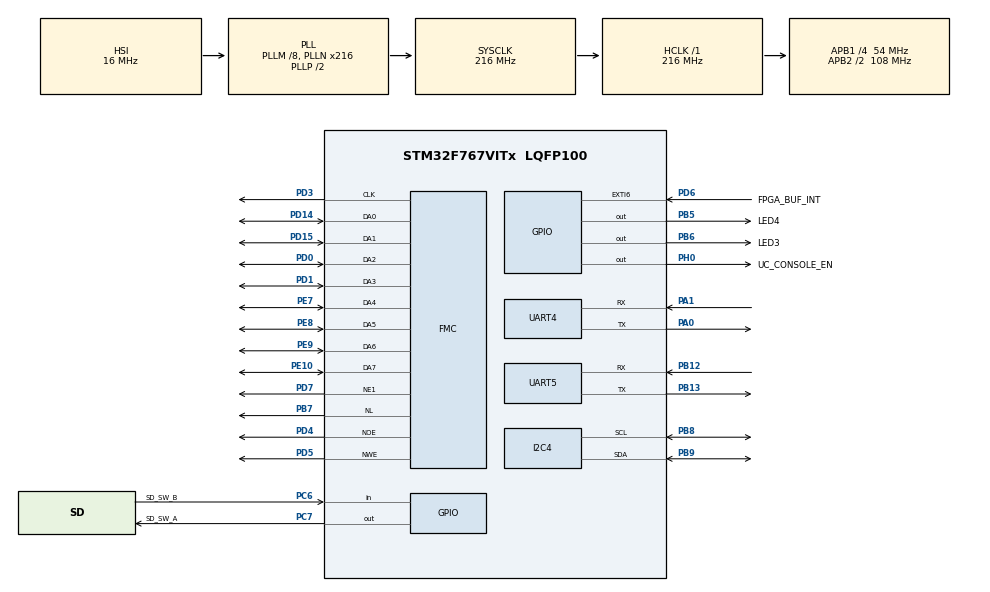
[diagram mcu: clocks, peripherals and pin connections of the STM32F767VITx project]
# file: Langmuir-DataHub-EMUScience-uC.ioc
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Dma.I2C4_RX.1.Direction=DMA_PERIPH_TO_MEMORY
Dma.I2C4_RX.1.FIFOMode=DMA_FIFOMODE_DISABLE
Dma.I2C4_RX.1.Instance=DMA1_Stream1
Dma.I2C4_RX.1.MemDataAlignment=DMA_MDATAALIGN_BYTE
Dma.I2C4_RX.1.MemInc=DMA_MINC_ENABLE
Dma.I2C4_RX.1.Mode=DMA_NORMAL
Dma.I2C4_RX.1.PeriphDataAlignment=DMA_PDATAALIGN_BYTE
Dma.I2C4_RX.1.PeriphInc=DMA_PINC_DISABLE
Dma.I2C4_RX.1.Priority=DMA_PRIORITY_LOW
Dma.I2C4_TX.2.Direction=DMA_MEMORY_TO_PERIPH
Dma.I2C4_TX.2.FIFOMode=DMA_FIFOMODE_DISABLE
Dma.I2C4_TX.2.Instance=DMA1_Stream5
Dma.I2C4_TX.2.MemDataAlignment=DMA_MDATAALIGN_BYTE
Dma.I2C4_TX.2.MemInc=DMA_MINC_ENABLE
Dma.I2C4_TX.2.Mode=DMA_NORMAL
Dma.I2C4_TX.2.PeriphDataAlignment=DMA_PDATAALIGN_BYTE
Dma.I2C4_TX.2.PeriphInc=DMA_PINC_DISABLE
Dma.I2C4_TX.2.Priority=DMA_PRIORITY_LOW
Dma.MEMTOMEM.0.Direction=DMA_MEMORY_TO_MEMORY
Dma.MEMTOMEM.0.FIFOMode=DMA_FIFOMODE_ENABLE
Dma.MEMTOMEM.0.FIFOThreshold=DMA_FIFO_THRESHOLD_FULL
Dma.MEMTOMEM.0.Instance=DMA2_Stream1
Dma.MEMTOMEM.0.MemBurst=DMA_MBURST_SINGLE
Dma.MEMTOMEM.0.MemDataAlignment=DMA_MDATAALIGN_BYTE
Dma.MEMTOMEM.0.MemInc=DMA_MINC_ENABLE
Dma.MEMTOMEM.0.Mode=DMA_NORMAL
Dma.MEMTOMEM.0.PeriphBurst=DMA_PBURST_SINGLE
Dma.MEMTOMEM.0.PeriphDataAlignment=DMA_PDATAALIGN_BYTE
Dma.MEMTOMEM.0.PeriphInc=DMA_PINC_ENABLE
Dma.MEMTOMEM.0.Priority=DMA_PRIORITY_VERY_HIGH
Dma.Request0=MEMTOMEM
Dma.Request1=I2C4_RX
Dma.Request2=I2C4_TX
Dma.Request3=UART4_TX
Dma.Request4=UART5_RX
Dma.UART4_TX.3.Direction=DMA_MEMORY_TO_PERIPH
Dma.UART4_TX.3.FIFOMode=DMA_FIFOMODE_DISABLE
Dma.UART4_TX.3.Instance=DMA1_Stream4
Dma.UART4_TX.3.MemDataAlignment=DMA_MDATAALIGN_BYTE
Dma.UART4_TX.3.MemInc=DMA_MINC_ENABLE
Dma.UART4_TX.3.Mode=DMA_NORMAL
Dma.UART4_TX.3.PeriphDataAlignment=DMA_PDATAALIGN_BYTE
Dma.UART4_TX.3.PeriphInc=DMA_PINC_DISABLE
Dma.UART4_TX.3.Priority=DMA_PRIORITY_LOW
Dma.UART5_RX.4.Direction=DMA_PERIPH_TO_MEMORY
Dma.UART5_RX.4.FIFOMode=DMA_FIFOMODE_DISABLE
Dma.UART5_RX.4.Instance=DMA1_Stream0
Dma.UART5_RX.4.MemDataAlignment=DMA_MDATAALIGN_BYTE
Dma.UART5_RX.4.MemInc=DMA_MINC_ENABLE
Dma.UART5_RX.4.Mode=DMA_NORMAL
Dma.UART5_RX.4.PeriphDataAlignment=DMA_PDATAALIGN_BYTE
Dma.UART5_RX.4.PeriphInc=DMA_PINC_DISABLE
Dma.UART5_RX.4.Priority=DMA_PRIORITY_LOW
FMC.CLKDivision1=6
FMC.WriteFifo1=FMC_WRITE_FIFO_DISABLE
FMC.WriteFifo2=FMC_WRITE_FIFO_DISABLE
FREERTOS.Tasks01=PUS_3_Task,0,1024,handle_PUS_3_Service,Default,NULL,Dynamic,NULL,NULL;UART_OBC_IN,2,1024,handle_UART_IN_OBC,Default,NULL,Dynamic,NULL,NULL;PUS_8_Task,0,1024,handle_PUS_8_Service,Default,NULL,Dynamic,NULL,NULL;UART_OBC_OUT,1,1024,handle_UART_OUT_OBC,Default,NULL,Dynamic,NULL,NULL;UART_FPGA_IN,2,1024,handle_UART_IN_FPGA,Default,NULL,Dynamic,NULL,NULL;Watchdog_Task,-2,128,handle_Watchdog,Default,NULL,Dynamic,NULL,NULL
FREERTOS.configTOTAL_HEAP_SIZE=25000
I2C4.Timing=0x20404768
IWDG.Prescaler=IWDG_PRESCALER_64
Mcu.Family=STM32F7
Mcu.Name=STM32F767VITx
Mcu.Package=LQFP100
NVIC.DMA1_Stream0_IRQn=true\:5\:0\:false\:false\:true\:true\:false\:true
NVIC.DMA1_Stream1_IRQn=true\:5\:0\:false\:false\:true\:true\:false\:true
NVIC.DMA1_Stream4_IRQn=true\:5\:0\:false\:false\:true\:true\:false\:true
NVIC.DMA1_Stream5_IRQn=true\:5\:0\:false\:false\:true\:true\:false\:true
NVIC.DMA2_Stream1_IRQn=true\:5\:0\:false\:true\:true\:1\:true\:true\:true
NVIC.EXTI9_5_IRQn=true\:5\:0\:false\:false\:true\:true\:true\:true
NVIC.PriorityGroup=NVIC_PRIORITYGROUP_4
NVIC.TIM1_UP_TIM10_IRQn=true\:0\:0\:false\:false\:true\:false\:false\:true
NVIC.TimeBase=TIM1_UP_TIM10_IRQn
NVIC.TimeBaseIP=TIM1
NVIC.UART4_IRQn=true\:5\:0\:false\:false\:true\:true\:true\:true
NVIC.UART5_IRQn=true\:5\:0\:false\:false\:true\:true\:true\:true
PA0/WKUP.Mode=Asynchronous
PA0/WKUP.Signal=UART4_TX
PA1.Mode=Asynchronous
PA1.Signal=UART4_RX
PA13.Mode=Serial_Wire
PA13.Signal=SYS_JTMS-SWDIO
PA14.Mode=Serial_Wire
PA14.Signal=SYS_JTCK-SWCLK
PB12.Mode=Asynchronous
PB12.Signal=UART5_RX
PB13.Mode=Asynchronous
PB13.Signal=UART5_TX
PB5.GPIO_Label=LED4
PB5.Signal=GPIO_Output
PB6.GPIO_Label=LED3
PB6.Signal=GPIO_Output
PB7.GPIO_PuPd=GPIO_NOPULL
PB7.GPIO_Speed_High_Default=GPIO_SPEED_FREQ_MEDIUM
PB7.Signal=FMC_NL
PB8.GPIO_PuPdOD=GPIO_PULLUP
PB8.GPIO_Speed=GPIO_SPEED_FREQ_LOW
PB8.Mode=I2C
PB8.Signal=I2C4_SCL
PB9.GPIO_PuPdOD=GPIO_PULLUP
PB9.GPIO_Speed=GPIO_SPEED_FREQ_LOW
PB9.Mode=I2C
PB9.Signal=I2C4_SDA
PC6.GPIO_Label=SD_SW_B
PC6.GPIO_PuPd=GPIO_PULLUP
PC6.Signal=GPIO_Input
PC7.GPIO_Label=SD_SW_A
PC7.PinState=GPIO_PIN_RESET
PC7.Signal=GPIO_Output
PD0.GPIO_Speed_High_Default=GPIO_SPEED_FREQ_MEDIUM
PD0.Signal=FMC_D2_DA2
PD1.GPIO_Speed_High_Default=GPIO_SPEED_FREQ_MEDIUM
PD1.Signal=FMC_D3_DA3
PD14.GPIO_Speed_High_Default=GPIO_SPEED_FREQ_MEDIUM
PD14.Signal=FMC_D0_DA0
PD15.GPIO_Speed_High_Default=GPIO_SPEED_FREQ_MEDIUM
PD15.Signal=FMC_D1_DA1
PD3.GPIO_Speed_High_Default=GPIO_SPEED_FREQ_MEDIUM
PD3.Signal=FMC_CLK
PD4.GPIO_Speed_High_Default=GPIO_SPEED_FREQ_MEDIUM
PD4.Signal=FMC_NOE
PD5.GPIO_Speed_High_Default=GPIO_SPEED_FREQ_MEDIUM
PD5.Signal=FMC_NWE
PD6.GPIO_Label=FPGA_BUF_INT
PD6.Signal=GPXTI6
PD7.GPIO_Speed_High_Default=GPIO_SPEED_FREQ_MEDIUM
PD7.Mode=NorPsramChipSelect1_1
PD7.Signal=FMC_NE1
PE10.GPIO_Speed_High_Default=GPIO_SPEED_FREQ_MEDIUM
PE10.Signal=FMC_D7_DA7
PE7.GPIO_Speed_High_Default=GPIO_SPEED_FREQ_MEDIUM
PE7.Signal=FMC_D4_DA4
PE8.GPIO_Speed_High_Default=GPIO_SPEED_FREQ_MEDIUM
PE8.Signal=FMC_D5_DA5
PE9.GPIO_Speed_High_Default=GPIO_SPEED_FREQ_MEDIUM
PE9.Signal=FMC_D6_DA6
PH0/OSC_IN.GPIO_Label=UC_CONSOLE_EN
PH0/OSC_IN.Signal=GPIO_Output
ProjectManager.HeapSize=0x200
ProjectManager.StackSize=0x400
ProjectManager.TargetToolchain=STM32CubeIDE
RCC.AHBFreq_Value=216000000
RCC.APB1CLKDivider=RCC_HCLK_DIV4
RCC.APB1Freq_Value=54000000
RCC.APB1TimFreq_Value=108000000
RCC.APB2CLKDivider=RCC_HCLK_DIV2
RCC.APB2Freq_Value=108000000
RCC.APB2TimFreq_Value=216000000
RCC.CortexFreq_Value=216000000
RCC.HCLKFreq_Value=216000000
RCC.HSE_VALUE=25000000
RCC.HSI_VALUE=16000000
RCC.LSE_VALUE=32768
RCC.PLLM=8
RCC.PLLN=216
RCC.PLLQ=9
RCC.SDMMCClockSelection=RCC_SDMMC1CLKSOURCE_CLK48
RCC.SYSCLKFreq_VALUE=216000000
RCC.SYSCLKSource=RCC_SYSCLKSOURCE_PLLCLK
RCC.USBFreq_Value=48000000
RCC.VCOOutputFreq_Value=432000000
SH.FMC_CLK.0=FMC_CLK,BurstRead1
SH.FMC_D0_DA0.0=FMC_DA0,8b-da1
SH.FMC_D1_DA1.0=FMC_DA1,8b-da1
SH.FMC_D2_DA2.0=FMC_DA2,8b-da1
SH.FMC_D3_DA3.0=FMC_DA3,8b-da1
SH.FMC_D4_DA4.0=FMC_DA4,8b-da1
SH.FMC_D5_DA5.0=FMC_DA5,8b-da1
SH.FMC_D6_DA6.0=FMC_DA6,8b-da1
SH.FMC_D7_DA7.0=FMC_DA7,8b-da1
SH.FMC_NL.0=FMC_NL,AddressValid1
SH.FMC_NOE.0=FMC_NOE,MuxedPsram1
SH.FMC_NWE.0=FMC_NWE,MuxedPsram1
VP_FREERTOS_VS_CMSIS_V1.Mode=CMSIS_V1
VP_IWDG_VS_IWDG.Mode=IWDG_Activate
VP_SYS_VS_tim1.Mode=TIM1
board=custom

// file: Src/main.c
/* USER CODE BEGIN Header */
/**
    ******************************************************************************
    * @file                     : main.c
    * @brief                    : Main program body
    ******************************************************************************
    * @attention
    *
    * <h2><center>&copy; Copyright (c) 2019 STMicroelectronics.
    * All rights reserved.</center></h2>
    *
    * This software component is licensed by ST under Ultimate Liberty license
    * SLA0044, the "License"; You may not use this file except in compliance with
    * the License. You may obtain a copy of the License at:
    *                                                         www.st.com/SLA0044
    *
    ******************************************************************************
    */
/* USER CODE END Header */

#include "main.h"
#include "cmsis_os.h"

/* USER CODE BEGIN Includes */

#include "FRAM.h"
#include "COBS.h"
#include "General_Functions.h"
#include "Space_Packet_Protocol.h"
#include "PUS.h"
#include "PUS_1_service.h"
#include "PUS_3_service.h"
#include "PUS_8_service.h"
#include "PUS_17_service.h"
#include "Device_State.h"
/* USER CODE END Includes */

I2C_HandleTypeDef hi2c4;
DMA_HandleTypeDef hdma_i2c4_rx;
DMA_HandleTypeDef hdma_i2c4_tx;

IWDG_HandleTypeDef hiwdg;

UART_HandleTypeDef huart4;
UART_HandleTypeDef huart5;
DMA_HandleTypeDef hdma_uart4_tx;
DMA_HandleTypeDef hdma_uart5_rx;

DMA_HandleTypeDef hdma_memtomem_dma2_stream1;
SRAM_HandleTypeDef hsram1;

osThreadId PUS_3_TaskHandle;
osThreadId UART_OBC_INHandle;
osThreadId PUS_8_TaskHandle;
osThreadId UART_OBC_OUTHandle;
osThreadId UART_FPGA_INHandle;
osThreadId Watchdog_TaskHandle;
/* USER CODE BEGIN PV */

#define UNIT_ID_CU 0x1A
#define UNIT_ID_EMUCONTROL 0x1B
#define UNIT_ID_EMUSCIENCE 0x1C
#define UNIT_ID_SMILE 0x1D

#define SWEEP_MODE_MEASUREMENT_BYTE_SIZE 8 // size in bytes of a measurement stored inside the FIFO
#define SWEEP_MODE_ROWS_TO_READ 64 // nr of rows that have to be read when the AFULL interrupt is generated
#define SWEEP_MODE_DATA_SIZE_TO_READ SWEEP_MODE_ROWS_TO_READ * SWEEP_MODE_MEASUREMENT_BYTE_SIZE * sizeof(uint8_t)

#define UART_MAX_RETRIES 3
#define CB_MODE_BUFFERED_MEASUREMENTS 4

uint16_t HK_SPP_APP_ID = 0;
uint16_t HK_PUS_SOURCE_ID = 0;

extern QueueHandle_t UART_OBC_Out_Queue;
extern QueueHandle_t PUS_3_Queue;
extern QueueHandle_t PUS_8_Queue;

extern volatile uint8_t uart_tx_OBC_done;
extern volatile uint8_t uart_tx_FPGA_done;

extern uint8_t UART_FPGA_Rx_Buffer[100];
extern uint8_t UART_FPGA_OBC_Tx_Buffer[100];

extern volatile UART_Rx_OBC_Msg UART_RxBuffer;
extern volatile uint16_t UART_recv_count;
extern volatile uint8_t UART_recv_char;
extern volatile uint8_t UART_TxBuffer[MAX_COBS_FRAME_LEN];

DeviceState Current_Global_Device_State = NORMAL_MODE;

volatile uint8_t Sweep_Bias_Mode_Data[3072];
uint8_t Constant_Bias_Mode_Buffer[2][CB_MODE_BUFFERED_MEASUREMENTS*8];
uint8_t Buffer_Index = 0;
uint8_t Measurement_Index = 0;
uint8_t send_buffered_data;

volatile uint16_t Sweep_Bias_Data_counter = 0;
volatile uint16_t Old_Sweep_Bias_Data_counter = 0;

/* USER CODE END PV */

void SystemClock_Config(void);
static void MX_GPIO_Init(void);
static void MX_DMA_Init(void);
static void MX_FMC_Init(void);
static void MX_I2C4_Init(void);
static void MX_UART4_Init(void);
static void MX_UART5_Init(void);
static void MX_IWDG_Init(void);
void handle_PUS_3_Service(void const * argument);
void handle_UART_IN_OBC(void const * argument);
void handle_PUS_8_Service(void const * argument);
void handle_UART_OUT_OBC(void const * argument);
void handle_UART_IN_FPGA(void const * argument);
void handle_Watchdog(void const * argument);

static void MX_NVIC_Init(void);

int main(void)
{
  /* USER CODE BEGIN 1 */
	HAL_GPIO_WritePin(GPIOB, LED4_Pin|LED3_Pin, GPIO_PIN_RESET);

  /* USER CODE END 1 */

  /* MCU Configuration--------------------------------------------------------*/

  /* Reset of all peripherals, Initializes the Flash interface and the Systick. */
  HAL_Init();

  /* USER CODE BEGIN Init */

  // This condition checks if the system has reset because the IWDG was not refreshed in time
  if (__HAL_RCC_GET_FLAG(RCC_FLAG_IWDGRST)) {
      __HAL_RCC_CLEAR_RESET_FLAGS();  // Clear reset flags
  }

  // This line is very IMPORTANT because it also pauses the hardware watchdog when in debug mode,
  // thus allowing for a proper analysis of the system state (ex: science data buffer)
  __HAL_DBGMCU_FREEZE_IWDG();

  UART_OBC_Out_Queue = xQueueCreate(1, sizeof(UART_OUT_OBC_msg));
  PUS_3_Queue = xQueueCreate(1, sizeof(PUS_3_msg));
  PUS_8_Queue = xQueueCreate(1, sizeof(PUS_8_msg));
  Current_Global_Device_State = NORMAL_MODE;
  /* USER CODE END Init */

  /* Configure the system clock */
  SystemClock_Config();

  /* Initialize all configured peripherals */
  MX_GPIO_Init();
  MX_DMA_Init();
  MX_FMC_Init();
  MX_I2C4_Init();
  MX_UART4_Init();
  MX_UART5_Init();
  MX_IWDG_Init();

  /* Initialize interrupts */
  MX_NVIC_Init();
  /* USER CODE BEGIN 2 */

  HAL_GPIO_WritePin(GPIOB, LED4_Pin|LED3_Pin, GPIO_PIN_RESET);

  hsram1.hdma = &hdma_memtomem_dma2_stream1;
  /* USER CODE END 2 */

  /* Create the thread(s) */
  /* definition and creation of PUS_3_Task */
  osThreadDef(PUS_3_Task, handle_PUS_3_Service, osPriorityNormal, 0, 1024);
  PUS_3_TaskHandle = osThreadCreate(osThread(PUS_3_Task), NULL);

  /* definition and creation of UART_OBC_IN */
  osThreadDef(UART_OBC_IN, handle_UART_IN_OBC, osPriorityHigh, 0, 1024);
  UART_OBC_INHandle = osThreadCreate(osThread(UART_OBC_IN), NULL);

  /* definition and creation of PUS_8_Task */
  osThreadDef(PUS_8_Task, handle_PUS_8_Service, osPriorityNormal, 0, 1024);
  PUS_8_TaskHandle = osThreadCreate(osThread(PUS_8_Task), NULL);

  /* definition and creation of UART_OBC_OUT */
  osThreadDef(UART_OBC_OUT, handle_UART_OUT_OBC, osPriorityAboveNormal, 0, 1024);
  UART_OBC_OUTHandle = osThreadCreate(osThread(UART_OBC_OUT), NULL);

  /* definition and creation of UART_FPGA_IN */
  osThreadDef(UART_FPGA_IN, handle_UART_IN_FPGA, osPriorityHigh, 0, 1024);
  UART_FPGA_INHandle = osThreadCreate(osThread(UART_FPGA_IN), NULL);

  /* definition and creation of Watchdog_Task */
  osThreadDef(Watchdog_Task, handle_Watchdog, osPriorityLow, 0, 128);
  Watchdog_TaskHandle = osThreadCreate(osThread(Watchdog_Task), NULL);

  /* Start scheduler */
  osKernelStart();

  /* We should never get here as control is now taken by the scheduler */

  /* Infinite loop */
    while (1)
    {

    }
}

void SystemClock_Config(void)
{
  RCC_OscInitTypeDef RCC_OscInitStruct = {0};
  RCC_ClkInitTypeDef RCC_ClkInitStruct = {0};
  RCC_PeriphCLKInitTypeDef PeriphClkInitStruct = {0};

  /** Configure the main internal regulator output voltage
  */
  __HAL_RCC_PWR_CLK_ENABLE();
  __HAL_PWR_VOLTAGESCALING_CONFIG(PWR_REGULATOR_VOLTAGE_SCALE1);
  /** Initializes the CPU, AHB and APB busses clocks
  */
  RCC_OscInitStruct.OscillatorType = RCC_OSCILLATORTYPE_HSI|RCC_OSCILLATORTYPE_LSI;
  RCC_OscInitStruct.HSIState = RCC_HSI_ON;
  RCC_OscInitStruct.HSICalibrationValue = RCC_HSICALIBRATION_DEFAULT;
  RCC_OscInitStruct.LSIState = RCC_LSI_ON;
  RCC_OscInitStruct.PLL.PLLState = RCC_PLL_ON;
  RCC_OscInitStruct.PLL.PLLSource = RCC_PLLSOURCE_HSI;
  RCC_OscInitStruct.PLL.PLLM = 8;
  RCC_OscInitStruct.PLL.PLLN = 216;
  RCC_OscInitStruct.PLL.PLLP = RCC_PLLP_DIV2;
  RCC_OscInitStruct.PLL.PLLQ = 9;
  if (HAL_RCC_OscConfig(&RCC_OscInitStruct) != HAL_OK)
  {
    Error_Handler();
  }
  /** Activate the Over-Drive mode
  */
  if (HAL_PWREx_EnableOverDrive() != HAL_OK)
  {
    Error_Handler();
  }
  /** Initializes the CPU, AHB and APB busses clocks
  */
  RCC_ClkInitStruct.ClockType = RCC_CLOCKTYPE_HCLK|RCC_CLOCKTYPE_SYSCLK
                              |RCC_CLOCKTYPE_PCLK1|RCC_CLOCKTYPE_PCLK2;
  RCC_ClkInitStruct.SYSCLKSource = RCC_SYSCLKSOURCE_PLLCLK;
  RCC_ClkInitStruct.AHBCLKDivider = RCC_SYSCLK_DIV1;
  RCC_ClkInitStruct.APB1CLKDivider = RCC_HCLK_DIV4;
  RCC_ClkInitStruct.APB2CLKDivider = RCC_HCLK_DIV2;

  if (HAL_RCC_ClockConfig(&RCC_ClkInitStruct, FLASH_LATENCY_7) != HAL_OK)
  {
    Error_Handler();
  }
  PeriphClkInitStruct.PeriphClockSelection = RCC_PERIPHCLK_UART4|RCC_PERIPHCLK_UART5
                              |RCC_PERIPHCLK_I2C4;
  PeriphClkInitStruct.Uart4ClockSelection = RCC_UART4CLKSOURCE_PCLK1;
  PeriphClkInitStruct.Uart5ClockSelection = RCC_UART5CLKSOURCE_PCLK1;
  PeriphClkInitStruct.I2c4ClockSelection = RCC_I2C4CLKSOURCE_PCLK1;
  if (HAL_RCCEx_PeriphCLKConfig(&PeriphClkInitStruct) != HAL_OK)
  {
    Error_Handler();
  }
}

/**
  * @brief NVIC Configuration.
  * @retval None
  */
static void MX_NVIC_Init(void)
{
  /* DMA2_Stream1_IRQn interrupt configuration */
  HAL_NVIC_SetPriority(DMA2_Stream1_IRQn, 5, 0);
  HAL_NVIC_EnableIRQ(DMA2_Stream1_IRQn);
}

static void MX_I2C4_Init(void)
{

  hi2c4.Instance = I2C4;
  hi2c4.Init.Timing = 0x20404768;
  hi2c4.Init.OwnAddress1 = 0;
  hi2c4.Init.AddressingMode = I2C_ADDRESSINGMODE_7BIT;
  hi2c4.Init.DualAddressMode = I2C_DUALADDRESS_DISABLE;
  hi2c4.Init.OwnAddress2 = 0;
  hi2c4.Init.OwnAddress2Masks = I2C_OA2_NOMASK;
  hi2c4.Init.GeneralCallMode = I2C_GENERALCALL_DISABLE;
  hi2c4.Init.NoStretchMode = I2C_NOSTRETCH_DISABLE;
  if (HAL_I2C_Init(&hi2c4) != HAL_OK)
  {
    Error_Handler();
  }
  /** Configure Analogue filter
  */
  if (HAL_I2CEx_ConfigAnalogFilter(&hi2c4, I2C_ANALOGFILTER_ENABLE) != HAL_OK)
  {
    Error_Handler();
  }
  /** Configure Digital filter
  */
  if (HAL_I2CEx_ConfigDigitalFilter(&hi2c4, 0) != HAL_OK)
  {
    Error_Handler();
  }

}

static void MX_IWDG_Init(void)
{

  hiwdg.Instance = IWDG;
  hiwdg.Init.Prescaler = IWDG_PRESCALER_64;
  hiwdg.Init.Window = 4095;
  hiwdg.Init.Reload = 4095;
  if (HAL_IWDG_Init(&hiwdg) != HAL_OK)
  {
    Error_Handler();
  }

}

static void MX_UART4_Init(void)
{

  huart4.Instance = UART4;
  huart4.Init.BaudRate = 115200;
  huart4.Init.WordLength = UART_WORDLENGTH_8B;
  huart4.Init.StopBits = UART_STOPBITS_1;
  huart4.Init.Parity = UART_PARITY_NONE;
  huart4.Init.Mode = UART_MODE_TX_RX;
  huart4.Init.HwFlowCtl = UART_HWCONTROL_NONE;
  huart4.Init.OverSampling = UART_OVERSAMPLING_16;
  huart4.Init.OneBitSampling = UART_ONE_BIT_SAMPLE_DISABLE;
  huart4.AdvancedInit.AdvFeatureInit = UART_ADVFEATURE_NO_INIT;
  if (HAL_UART_Init(&huart4) != HAL_OK)
  {
    Error_Handler();
  }

}

static void MX_UART5_Init(void)
{

  huart5.Instance = UART5;
  huart5.Init.BaudRate = 115200;
  huart5.Init.WordLength = UART_WORDLENGTH_8B;
  huart5.Init.StopBits = UART_STOPBITS_1;
  huart5.Init.Parity = UART_PARITY_NONE;
  huart5.Init.Mode = UART_MODE_TX_RX;
  huart5.Init.HwFlowCtl = UART_HWCONTROL_NONE;
  huart5.Init.OverSampling = UART_OVERSAMPLING_16;
  huart5.Init.OneBitSampling = UART_ONE_BIT_SAMPLE_DISABLE;
  huart5.AdvancedInit.AdvFeatureInit = UART_ADVFEATURE_NO_INIT;
  if (HAL_UART_Init(&huart5) != HAL_OK)
  {
    Error_Handler();
  }

}

static void MX_DMA_Init(void)
{
  /* DMA controller clock enable */
  __HAL_RCC_DMA2_CLK_ENABLE();
  __HAL_RCC_DMA1_CLK_ENABLE();

  /* Configure DMA request hdma_memtomem_dma2_stream1 on DMA2_Stream1 */
  hdma_memtomem_dma2_stream1.Instance = DMA2_Stream1;
  hdma_memtomem_dma2_stream1.Init.Channel = DMA_CHANNEL_0;
  hdma_memtomem_dma2_stream1.Init.Direction = DMA_MEMORY_TO_MEMORY;
  hdma_memtomem_dma2_stream1.Init.PeriphInc = DMA_PINC_ENABLE;
  hdma_memtomem_dma2_stream1.Init.MemInc = DMA_MINC_ENABLE;
  hdma_memtomem_dma2_stream1.Init.PeriphDataAlignment = DMA_PDATAALIGN_BYTE;
  hdma_memtomem_dma2_stream1.Init.MemDataAlignment = DMA_MDATAALIGN_BYTE;
  hdma_memtomem_dma2_stream1.Init.Mode = DMA_NORMAL;
  hdma_memtomem_dma2_stream1.Init.Priority = DMA_PRIORITY_VERY_HIGH;
  hdma_memtomem_dma2_stream1.Init.FIFOMode = DMA_FIFOMODE_ENABLE;
  hdma_memtomem_dma2_stream1.Init.FIFOThreshold = DMA_FIFO_THRESHOLD_FULL;
  hdma_memtomem_dma2_stream1.Init.MemBurst = DMA_MBURST_SINGLE;
  hdma_memtomem_dma2_stream1.Init.PeriphBurst = DMA_PBURST_SINGLE;
  if (HAL_DMA_Init(&hdma_memtomem_dma2_stream1) != HAL_OK)
  {
    Error_Handler( );
  }

  /* DMA interrupt init */
  /* DMA1_Stream0_IRQn interrupt configuration */
  HAL_NVIC_SetPriority(DMA1_Stream0_IRQn, 5, 0);
  HAL_NVIC_EnableIRQ(DMA1_Stream0_IRQn);
  /* DMA1_Stream1_IRQn interrupt configuration */
  HAL_NVIC_SetPriority(DMA1_Stream1_IRQn, 5, 0);
  HAL_NVIC_EnableIRQ(DMA1_Stream1_IRQn);
  /* DMA1_Stream4_IRQn interrupt configuration */
  HAL_NVIC_SetPriority(DMA1_Stream4_IRQn, 5, 0);
  HAL_NVIC_EnableIRQ(DMA1_Stream4_IRQn);
  /* DMA1_Stream5_IRQn interrupt configuration */
  HAL_NVIC_SetPriority(DMA1_Stream5_IRQn, 5, 0);
  HAL_NVIC_EnableIRQ(DMA1_Stream5_IRQn);

}
/* FMC initialization function */
static void MX_FMC_Init(void)
{
  FMC_NORSRAM_TimingTypeDef Timing;

  /** Perform the SRAM1 memory initialization sequence
  */
  hsram1.Instance = FMC_NORSRAM_DEVICE;
  hsram1.Extended = FMC_NORSRAM_EXTENDED_DEVICE;
  /* hsram1.Init */
  hsram1.Init.NSBank = FMC_NORSRAM_BANK1;
  hsram1.Init.DataAddressMux = FMC_DATA_ADDRESS_MUX_ENABLE;
  hsram1.Init.MemoryType = FMC_MEMORY_TYPE_PSRAM;
  hsram1.Init.MemoryDataWidth = FMC_NORSRAM_MEM_BUS_WIDTH_8;
  hsram1.Init.BurstAccessMode = FMC_BURST_ACCESS_MODE_ENABLE;
  hsram1.Init.WaitSignalPolarity = FMC_WAIT_SIGNAL_POLARITY_LOW;
  hsram1.Init.WaitSignalActive = FMC_WAIT_TIMING_BEFORE_WS;
  hsram1.Init.WriteOperation = FMC_WRITE_OPERATION_DISABLE;
  hsram1.Init.WaitSignal = FMC_WAIT_SIGNAL_DISABLE;
  hsram1.Init.ExtendedMode = FMC_EXTENDED_MODE_DISABLE;
  hsram1.Init.AsynchronousWait = FMC_ASYNCHRONOUS_WAIT_DISABLE;
  hsram1.Init.WriteBurst = FMC_WRITE_BURST_DISABLE;
  hsram1.Init.ContinuousClock = FMC_CONTINUOUS_CLOCK_SYNC_ONLY;
  hsram1.Init.WriteFifo = FMC_WRITE_FIFO_DISABLE;
  hsram1.Init.PageSize = FMC_PAGE_SIZE_NONE;
  /* Timing */
  Timing.AddressSetupTime = 15;
  Timing.AddressHoldTime = 15;
  Timing.DataSetupTime = 255;
  Timing.BusTurnAroundDuration = 15;
  Timing.CLKDivision = 6;
  Timing.DataLatency = 2;
  Timing.AccessMode = FMC_ACCESS_MODE_A;
  /* ExtTiming */

  if (HAL_SRAM_Init(&hsram1, &Timing, NULL) != HAL_OK)
  {
    Error_Handler( );
  }

}

static void MX_GPIO_Init(void)
{
  GPIO_InitTypeDef GPIO_InitStruct = {0};

  /* GPIO Ports Clock Enable */
  __HAL_RCC_GPIOH_CLK_ENABLE();
  __HAL_RCC_GPIOA_CLK_ENABLE();
  __HAL_RCC_GPIOE_CLK_ENABLE();
  __HAL_RCC_GPIOB_CLK_ENABLE();
  __HAL_RCC_GPIOD_CLK_ENABLE();
  __HAL_RCC_GPIOC_CLK_ENABLE();

  /*Configure GPIO pin Output Level */
  HAL_GPIO_WritePin(UC_CONSOLE_EN_GPIO_Port, UC_CONSOLE_EN_Pin, GPIO_PIN_RESET);

  /*Configure GPIO pin Output Level */
  HAL_GPIO_WritePin(SD_SW_A_GPIO_Port, SD_SW_A_Pin, GPIO_PIN_RESET);

  /*Configure GPIO pin Output Level */
  HAL_GPIO_WritePin(GPIOB, LED4_Pin|LED3_Pin, GPIO_PIN_RESET);

  /*Configure GPIO pin : UC_CONSOLE_EN_Pin */
  GPIO_InitStruct.Pin = UC_CONSOLE_EN_Pin;
  GPIO_InitStruct.Mode = GPIO_MODE_OUTPUT_PP;
  GPIO_InitStruct.Pull = GPIO_NOPULL;
  GPIO_InitStruct.Speed = GPIO_SPEED_FREQ_LOW;
  HAL_GPIO_Init(UC_CONSOLE_EN_GPIO_Port, &GPIO_InitStruct);

  /*Configure GPIO pin : SD_SW_B_Pin */
  GPIO_InitStruct.Pin = SD_SW_B_Pin;
  GPIO_InitStruct.Mode = GPIO_MODE_INPUT;
  GPIO_InitStruct.Pull = GPIO_PULLUP;
  HAL_GPIO_Init(SD_SW_B_GPIO_Port, &GPIO_InitStruct);

  /*Configure GPIO pin : SD_SW_A_Pin */
  GPIO_InitStruct.Pin = SD_SW_A_Pin;
  GPIO_InitStruct.Mode = GPIO_MODE_OUTPUT_PP;
  GPIO_InitStruct.Pull = GPIO_NOPULL;
  GPIO_InitStruct.Speed = GPIO_SPEED_FREQ_LOW;
  HAL_GPIO_Init(SD_SW_A_GPIO_Port, &GPIO_InitStruct);

  /*Configure GPIO pin : FPGA_BUF_INT_Pin */
  GPIO_InitStruct.Pin = FPGA_BUF_INT_Pin;
  GPIO_InitStruct.Mode = GPIO_MODE_IT_RISING;
  GPIO_InitStruct.Pull = GPIO_NOPULL;
  HAL_GPIO_Init(FPGA_BUF_INT_GPIO_Port, &GPIO_InitStruct);

  /*Configure GPIO pins : LED4_Pin LED3_Pin */
  GPIO_InitStruct.Pin = LED4_Pin|LED3_Pin;
  GPIO_InitStruct.Mode = GPIO_MODE_OUTPUT_PP;
  GPIO_InitStruct.Pull = GPIO_NOPULL;
  GPIO_InitStruct.Speed = GPIO_SPEED_FREQ_LOW;
  HAL_GPIO_Init(GPIOB, &GPIO_InitStruct);

  /* EXTI interrupt init*/
  HAL_NVIC_SetPriority(EXTI9_5_IRQn, 5, 0);
  HAL_NVIC_EnableIRQ(EXTI9_5_IRQn);

}

/* USER CODE BEGIN 4 */

void HAL_SRAM_DMA_XferCpltCallback(DMA_HandleTypeDef *hdma)
{
    Sweep_Bias_Data_counter += SWEEP_MODE_DATA_SIZE_TO_READ;
    if (__HAL_GPIO_EXTI_GET_IT(FPGA_BUF_INT_Pin) != RESET)
    {
    	// VERY IMPORTANT TO CLEAR THE INTERRUPTS
    	__HAL_GPIO_EXTI_CLEAR_IT(FPGA_BUF_INT_Pin);
    	NVIC_ClearPendingIRQ(EXTI9_5_IRQn);
    }

    HAL_NVIC_EnableIRQ(EXTI9_5_IRQn);

}

void HAL_GPIO_EXTI_Callback(uint16_t GPIO_Pin)
{
	if (GPIO_Pin == FPGA_BUF_INT_Pin && (Old_Sweep_Bias_Data_counter != Sweep_Bias_Data_counter))  // Adjust to your pin
	{
		Old_Sweep_Bias_Data_counter = Sweep_Bias_Data_counter;
		HAL_GPIO_TogglePin(GPIOB, LED4_Pin | LED3_Pin);
		if(Sweep_Bias_Data_counter <= sizeof(Sweep_Bias_Mode_Data) - SWEEP_MODE_DATA_SIZE_TO_READ)
		{
			HAL_NVIC_DisableIRQ(EXTI9_5_IRQn);
			HAL_SRAM_Read_DMA(&hsram1,
					(uint32_t *)0x60000000,
					(uint32_t *)(Sweep_Bias_Mode_Data + Sweep_Bias_Data_counter),
					SWEEP_MODE_DATA_SIZE_TO_READ);

		}
		else
		{
			HAL_NVIC_DisableIRQ(EXTI9_5_IRQn);

			// VERY IMPORTANT TO CLEAR THE INTERRUPTS
			__HAL_GPIO_EXTI_CLEAR_IT(FPGA_BUF_INT_Pin);
			NVIC_ClearPendingIRQ(EXTI9_5_IRQn);
		}
	}
}

void Clear_UART_Errors(UART_HandleTypeDef *huart)
{
	// Clear Overrun Error, Noise Error, and Framing Error flags
	__HAL_UART_CLEAR_FLAG(huart, UART_FLAG_ORE);
	__HAL_UART_CLEAR_FLAG(huart, UART_FLAG_NE);
	__HAL_UART_CLEAR_FLAG(huart, UART_FLAG_FE);
}

void HAL_UART_RxCpltCallback(UART_HandleTypeDef *huart)
{
	if (huart == &huart5) {
		osSignalSet(UART_FPGA_INHandle, 0x02);
	}

	else if(huart == &DEBUG_UART)
    {
		// Store the received character in the buffer
		UART_RxBuffer.RxBuffer[UART_recv_count] = UART_recv_char;

		// Check if this is the end of frame (0x00 terminator) or the buffer is full
		if (UART_recv_char == 0x00 || UART_recv_count >= MAX_COBS_FRAME_LEN - 1)
		{
			// Mark the frame size
			UART_RxBuffer.frame_size = UART_recv_count + 1;

			UART_recv_count = 0;
			UART_recv_char = 0xff;

			// Signal the task that a complete frame is ready to be processed
			osSignalSet(UART_OBC_INHandle, 0x01);

			// DO NOT RE-ARM THE ISR, it will be done after the task processes the buffer,
			// thus ensuring no race condition (the buffer is not modified while being used)
		}
		else
		{
			// Continue accumulating characters
			UART_recv_count++;

			Clear_UART_Errors(&DEBUG_UART);

			if (HAL_UART_Receive_IT(&DEBUG_UART,(uint8_t*) &UART_recv_char, 1) != HAL_OK)
			{
				HAL_GPIO_WritePin(GPIOB, LED4_Pin|LED3_Pin, GPIO_PIN_SET);

				int retry_count = 0;
				HAL_StatusTypeDef uart_status;

				do {
					Clear_UART_Errors(&DEBUG_UART);

					uart_status = HAL_UART_Receive_IT(&DEBUG_UART,(uint8_t*) &UART_recv_char, 1);
					retry_count++;

					if (uart_status != HAL_OK) {
						osDelay(10); // Small delay between retries
					}
				} while (uart_status != HAL_OK && retry_count < UART_MAX_RETRIES);

				if (uart_status != HAL_OK) {
					vTaskSuspend(Watchdog_TaskHandle);  // Let watchdog trigger reset
				}
			}
		}

    }
}

void HAL_UART_TxCpltCallback(UART_HandleTypeDef *huart) {
    if (huart == &DEBUG_UART) {
    	uart_tx_OBC_done = 1;  // Mark transmission as complete
    }
    else if (huart == &huart5) {
    	uart_tx_FPGA_done = 1;  // Mark transmission as complete
	}
}
/* USER CODE END 4 */

void handle_PUS_3_Service(void const * argument)
{

  /* USER CODE BEGIN 5 */

    uint32_t current_ticks = 0;
    // uint8_t periodic_report = 0;
    PUS_3_msg pus3_msg_received;
    uint8_t result = NO_ERROR;

    /* Infinite loop */
    for(;;)
    {
    	// if(!periodic_report)
    	// {
    		if (xQueueReceive(PUS_3_Queue, &pus3_msg_received, portMAX_DELAY) == pdPASS)
    		{
    			result = PUS_3_set_report_frequency(pus3_msg_received.data, &pus3_msg_received);

    			if(result == NO_ERROR)
    			{
    				current_ticks = xTaskGetTickCount();
            // PUS_3_collect_HK_data(current_ticks);

            // PUS_3_HK_send(&pus3_msg_received);

            PUS_1_send_succ_comp(&pus3_msg_received.SPP_header, &pus3_msg_received.PUS_TC_header);

            // if(current_uC_report_frequency == 2 || current_FPGA_report_frequency == 2)
            // {
            //   periodic_report = 1;
            // }
    			}
    			else
    			{
    				PUS_1_send_fail_comp(&pus3_msg_received.SPP_header, &pus3_msg_received.PUS_TC_header, result);
    			}
    		}
    	// }
    	// else
    	// {
    	// 	if (xQueuePeek(PUS_3_Queue, &pus3_msg_received, 2000) == pdPASS)
    	// 	{
    	// 		periodic_report = 0;
    	// 	}
    	// 	else
    	// 	{
    	// 		current_ticks = xTaskGetTickCount();

			// 	PUS_3_collect_HK_data(current_ticks);

			// 	PUS_3_HK_send(&pus3_msg_received);
    	// 	}
    	// }
    	osDelay(1);
    }
  /* USER CODE END 5 */
}

void handle_UART_IN_OBC(void const * argument)
{
  /* USER CODE BEGIN handle_UART_IN_OBC */

	// Clear Overrun Error, Noise Error, and Framing Error flags
	Clear_UART_Errors(&DEBUG_UART);

	HAL_UART_Receive_IT(&DEBUG_UART,(uint8_t*) &UART_recv_char, 1);

	/* Infinite loop */
	for(;;)
	{
		osEvent evt = osSignalWait(0x01, osWaitForever);

		if (evt.status == osEventSignal)
		{
			if (evt.value.signals & 0x01)
			{
				Handle_incoming_TC();

				memset((void*)UART_RxBuffer.RxBuffer, 0, sizeof(UART_RxBuffer.RxBuffer));

				// Read out any pending data in the RX buffer that might have been received while ISR was disabled
				while (__HAL_UART_GET_FLAG(&DEBUG_UART, UART_FLAG_RXNE)) {
					volatile uint8_t dummy = (uint8_t)(DEBUG_UART.Instance->RDR);  // Read and discard
					(void)dummy;  // Avoid compiler warnings
				}

				Clear_UART_Errors(&DEBUG_UART);

				if (HAL_UART_Receive_IT(&DEBUG_UART,(uint8_t*) &UART_recv_char, 1) != HAL_OK)
				{
					// if rearming fails, try several times
					HAL_GPIO_WritePin(GPIOB, LED4_Pin|LED3_Pin, GPIO_PIN_SET);

					int retry_count = 0;
					HAL_StatusTypeDef uart_status;

					do {
						Clear_UART_Errors(&DEBUG_UART);

					    uart_status = HAL_UART_Receive_IT(&DEBUG_UART, (uint8_t*)&UART_recv_char, 1);
					    retry_count++;

					    if (uart_status != HAL_OK) {
					        osDelay(10); // Small delay between retries
					    }
					} while (uart_status != HAL_OK && retry_count < UART_MAX_RETRIES);

					if (uart_status != HAL_OK) {
					    vTaskSuspend(Watchdog_TaskHandle);  // Let watchdog trigger reset
					}
				}
			}
		}
		osDelay(1);
	}
  /* USER CODE END handle_UART_IN_OBC */
}

void handle_PUS_8_Service(void const * argument)
{
  /* USER CODE BEGIN handle_PUS_8_Service */
  /* Infinite loop */
	PUS_8_msg pus8_msg_received;
	PUS_8_msg_unpacked pus8_msg_unpacked;
	uint8_t result;

	for(;;)
	{
		if (xQueueReceive(PUS_8_Queue, &pus8_msg_received, portMAX_DELAY) == pdPASS)
		{
			pus8_msg_unpacked = (PUS_8_msg_unpacked){0};

			result = PUS_8_unpack_msg(&pus8_msg_received, &pus8_msg_unpacked);

			if(result == NO_ERROR)
			{
				result = PUS_8_perform_function(&pus8_msg_received.SPP_header, &pus8_msg_received.PUS_TC_header, &pus8_msg_unpacked);

				if(result == NO_ERROR)
				{
					PUS_1_send_succ_comp(&pus8_msg_received.SPP_header, &pus8_msg_received.PUS_TC_header);
				}
				else
				{
					PUS_1_send_fail_comp(&pus8_msg_received.SPP_header, &pus8_msg_received.PUS_TC_header, result);
				}
			}
			else
			{
				PUS_1_send_fail_comp(&pus8_msg_received.SPP_header, &pus8_msg_received.PUS_TC_header, result);
			}

			pus8_msg_received = (PUS_8_msg){0};
		}
		osDelay(1);
	}
  /* USER CODE END handle_PUS_8_Service */
}

void handle_UART_OUT_OBC(void const * argument)
{
  /* USER CODE BEGIN handle_UART_OUT_OBC */

	UART_OUT_OBC_msg UART_OUT_msg_received;

  /* Infinite loop */
  for(;;)
  {
	  if (xQueueReceive(UART_OBC_Out_Queue, &UART_OUT_msg_received, portMAX_DELAY) == pdPASS)
	  {
		  Add_SPP_PUS_and_send_TM(&UART_OUT_msg_received);
	  }
	  osDelay(1);
  }
  /* USER CODE END handle_UART_OUT_OBC */
}

void handle_UART_IN_FPGA(void const * argument)
{
  /* USER CODE BEGIN handle_UART_IN_FPGA */

	HAL_UART_Receive_DMA(&huart5, UART_FPGA_Rx_Buffer, 2 + 9 + 1);

  /* Infinite loop */
  for(;;)
  {
	osEvent evt = osSignalWait(0x02, osWaitForever);

		if (evt.status == osEventSignal)
		{
			if (evt.value.signals & 0x02)
			{
				UART_OUT_OBC_msg msg_to_send= {0};

				msg_to_send.PUS_HEADER_PRESENT	= 0;

				switch(UART_FPGA_Rx_Buffer[2])
				{
					case FPGA_GET_CB_VOL_LVL:
					{
						if(PUS_8_check_FPGA_msg_format(UART_FPGA_Rx_Buffer, 12))
						{
							UART_FPGA_OBC_Tx_Buffer[0] = FPGA_GET_CB_VOL_LVL;
							// UART_FPGA_OBC_Tx_Buffer[0] is set when first sending the msg to the FPGA
							// TO DO: change FPGA implementation to also send the probe ID
							UART_FPGA_OBC_Tx_Buffer[2] = UART_FPGA_Rx_Buffer[3];
							UART_FPGA_OBC_Tx_Buffer[3] = UART_FPGA_Rx_Buffer[4];
							memcpy(msg_to_send.TM_data, UART_FPGA_OBC_Tx_Buffer, 4);
							msg_to_send.TM_data_len			= 4;
						}
						break;
					}

					case FPGA_GET_SWT_VOL_LVL:
					{
						if(PUS_8_check_FPGA_msg_format(UART_FPGA_Rx_Buffer, 12))
						{
							UART_FPGA_OBC_Tx_Buffer[0] = FPGA_GET_SWT_VOL_LVL;
							// UART_FPGA_OBC_Tx_Buffer[0] & [1] are set when first sending the msg to the FPGA
							// TO DO: change FPGA implementation to also send the probe ID and step ID back with the voltage level
							UART_FPGA_OBC_Tx_Buffer[3] = UART_FPGA_Rx_Buffer[3];
							UART_FPGA_OBC_Tx_Buffer[4] = UART_FPGA_Rx_Buffer[4];
							memcpy(msg_to_send.TM_data, UART_FPGA_OBC_Tx_Buffer, 5);
							msg_to_send.TM_data_len			= 5;
						}
						break;
					}

					case FPGA_GET_SWT_STEPS:
					{
						if(PUS_8_check_FPGA_msg_format(UART_FPGA_Rx_Buffer, 12))
						{
							UART_FPGA_OBC_Tx_Buffer[0] = FPGA_GET_SWT_STEPS;
							UART_FPGA_OBC_Tx_Buffer[1] = UART_FPGA_Rx_Buffer[3];
							memcpy(msg_to_send.TM_data, UART_FPGA_OBC_Tx_Buffer, 2);
							msg_to_send.TM_data_len			= 2;
						}
						break;
					}

					case FPGA_GET_SWT_SAMPLES_PER_STEP:
					{
						if(PUS_8_check_FPGA_msg_format(UART_FPGA_Rx_Buffer, 12))
						{
							UART_FPGA_OBC_Tx_Buffer[0] = FPGA_GET_SWT_SAMPLES_PER_STEP;
							UART_FPGA_OBC_Tx_Buffer[1] = UART_FPGA_Rx_Buffer[3];
							UART_FPGA_OBC_Tx_Buffer[2] = UART_FPGA_Rx_Buffer[4];
							memcpy(msg_to_send.TM_data, UART_FPGA_OBC_Tx_Buffer, 3);
							msg_to_send.TM_data_len			= 3;
						}

						break;
					}

					case FPGA_GET_SWT_SAMPLE_SKIP:
					{
						if(PUS_8_check_FPGA_msg_format(UART_FPGA_Rx_Buffer, 12))
						{
							UART_FPGA_OBC_Tx_Buffer[0] = FPGA_GET_SWT_SAMPLE_SKIP;
							UART_FPGA_OBC_Tx_Buffer[1] = UART_FPGA_Rx_Buffer[3];
							UART_FPGA_OBC_Tx_Buffer[2] = UART_FPGA_Rx_Buffer[4];
							memcpy(msg_to_send.TM_data, UART_FPGA_OBC_Tx_Buffer, 3);
							msg_to_send.TM_data_len			= 3;
						}
						break;
					}

					case FPGA_GET_SWT_SAMPLES_PER_POINT:
					{
						if(PUS_8_check_FPGA_msg_format(UART_FPGA_Rx_Buffer, 12))
						{
							UART_FPGA_OBC_Tx_Buffer[0] = FPGA_GET_SWT_SAMPLES_PER_POINT;
							UART_FPGA_OBC_Tx_Buffer[1] = UART_FPGA_Rx_Buffer[3];
							UART_FPGA_OBC_Tx_Buffer[2] = UART_FPGA_Rx_Buffer[4];
							memcpy(msg_to_send.TM_data, UART_FPGA_OBC_Tx_Buffer, 3);
							msg_to_send.TM_data_len			= 3;
						}
						break;
					}

					case FPGA_GET_SWT_NPOINTS:
					{
						if(PUS_8_check_FPGA_msg_format(UART_FPGA_Rx_Buffer, 12))
						{
							UART_FPGA_OBC_Tx_Buffer[0] = FPGA_GET_SWT_NPOINTS;
							UART_FPGA_OBC_Tx_Buffer[1] = UART_FPGA_Rx_Buffer[3];
							UART_FPGA_OBC_Tx_Buffer[2] = UART_FPGA_Rx_Buffer[4];
							memcpy(msg_to_send.TM_data, UART_FPGA_OBC_Tx_Buffer, 3);
							msg_to_send.TM_data_len			= 3;
						}

						break;
					}

					case FPGA_EN_CB_MODE:
					{
						send_buffered_data = 0;

						if(PUS_8_check_FPGA_msg_format(UART_FPGA_Rx_Buffer, 12))
						{
							uint8_t *dest = Constant_Bias_Mode_Buffer[Buffer_Index] + Measurement_Index * 8;
							memcpy(dest, UART_FPGA_Rx_Buffer + 3, 8);
							Measurement_Index++;

							if(Measurement_Index == CB_MODE_BUFFERED_MEASUREMENTS)
							{
								msg_to_send.TM_data[0] = FPGA_EN_CB_MODE;
								memcpy(msg_to_send.TM_data + 1,
										Constant_Bias_Mode_Buffer[Buffer_Index],
										8 * CB_MODE_BUFFERED_MEASUREMENTS
								);
								msg_to_send.TM_data_len	= 8 * CB_MODE_BUFFERED_MEASUREMENTS + 1;

								send_buffered_data = 1;
								Measurement_Index = 0;
								Buffer_Index ^= 1;
							}
						}
						break;
					}

					case FPGA_GET_SENSOR_DATA:
          {
            if (PUS_8_check_FPGA_msg_format(UART_FPGA_Rx_Buffer, 12)) {

              msg_to_send.PUS_HEADER_PRESENT = 1;
              msg_to_send.SERVICE_ID = HOUSEKEEPING_SERVICE_ID;
              msg_to_send.SUBTYPE_ID = HK_PARAMETER_REPORT;

              msg_to_send.TM_data[0] = UART_FPGA_Rx_Buffer[3]; // HK ID

              memcpy(&msg_to_send.TM_data[1], &UART_FPGA_Rx_Buffer[4], 7);

              msg_to_send.TM_data_len = 8;
            }
            break;
          }

					default:
						break;
				}

				if(UART_FPGA_Rx_Buffer[2] != FPGA_EN_CB_MODE ||
					(UART_FPGA_Rx_Buffer[2] == FPGA_EN_CB_MODE && send_buffered_data == 1))
				{
          xQueueSend(UART_OBC_Out_Queue, &msg_to_send, portMAX_DELAY);
          //if (msg_to_send.TM_data_len > 0)
          //{
          //  xQueueSend(UART_OBC_Out_Queue, &msg_to_send, portMAX_DELAY);
          //}
        }
				HAL_UART_Receive_DMA(&huart5, UART_FPGA_Rx_Buffer, 2 + 9 + 1);
			}
		}
	osDelay(1);
  }
  /* USER CODE END handle_UART_IN_FPGA */
}

void handle_Watchdog(void const * argument)
{
  /* USER CODE BEGIN handle_Watchdog */
  /* Infinite loop */
	for(;;)
	{
		// This task has the lowest priority and if available to run, will reset the internal hardware watchdog
	  HAL_IWDG_Refresh(&hiwdg);  // Refresh watchdog
	  osDelay(1000);
	}
  /* USER CODE END handle_Watchdog */
}

void HAL_TIM_PeriodElapsedCallback(TIM_HandleTypeDef *htim)
{
  if (htim->Instance == TIM1) {
    HAL_IncTick();
  }
}

void Error_Handler(void)
{
}

/************************ (C) COPYRIGHT STMicroelectronics *****END OF FILE****/
